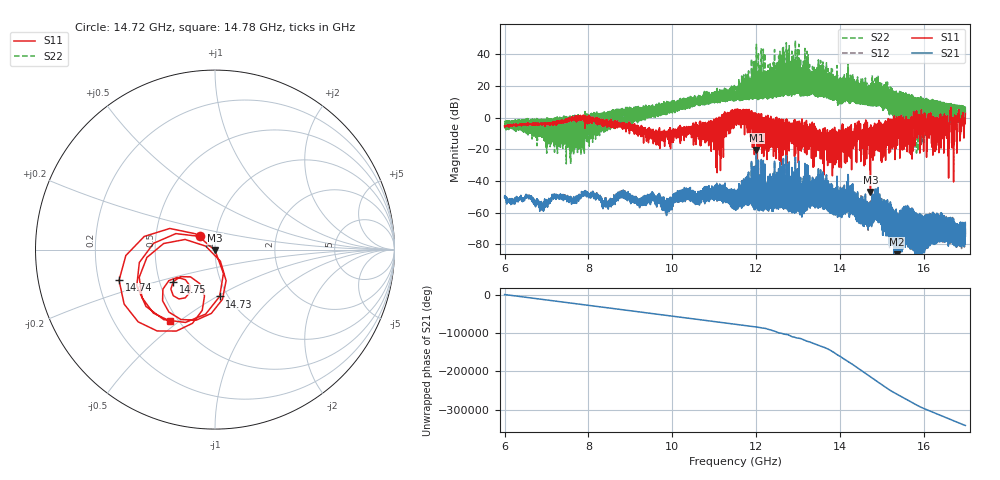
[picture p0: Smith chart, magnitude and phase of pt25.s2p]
#  HZ  S  RI  R  50.00
! Rohde & Schwarz Vector Network Analyzer
! Rohde-Schwarz,ZNA67-2Port,1332450062101215,3.01
! Created: UTC 10/15/2026, 3:06:13 PM
! freq[Hz]  re:S11  im:S11  re:S21  im:S21  re:S12  im:S12  re:S22  im:S22
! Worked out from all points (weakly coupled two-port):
!   11001 points, 6 GHz to 17 GHz, reference 50 ohm
!   highest |S21| = -20.39 dB at 12.01 GHz (marker M1); lowest = -92.8 dB at 15.37 GHz (marker M2)
!   lowest |S11| = -46.9 dB at 14.73 GHz (marker M3), VSWR 1.01, Z = 50 - j0.449 ohm
!   |S11| at or under -10 dB: 13.65208 GHz to 13.70161 GHz (49.52 MHz wide, 0.362 % of centre); 13.7201 GHz to 13.76947 GHz (49.36 MHz wide, 0.359 % of centre); 14.08077 GHz to 14.12743 GHz (46.66 MHz wide, 0.331 % of centre) (the widest 3 of 480)
!   |S22| runs from -29.3 to 48.7 dB; largest |S21 - S12| = 0.0034
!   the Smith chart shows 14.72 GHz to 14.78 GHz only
!   S11 on the Smith chart (normalised r, x): 14.72 GHz: 0.84, +0.12; 14.73 GHz: 0.92, -0.51; 14.74 GHz: 0.29, -0.14; 14.75 GHz: 0.59, -0.23; 14.78 GHz: 0.45, -0.46
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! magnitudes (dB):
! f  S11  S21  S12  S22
! 6 GHz  -5.3  -50.5  -50.5  -4.9
! 6.887 GHz  -4.2  -57.1  -57.1  -8.1
! 7.834 GHz  -0.4  -49.2  -49.2  -19.5
! 9.667 GHz  -10.6  -53.7  -53.8  1.0
! 9.895 GHz  -9.3  -51.9  -52.0  9.5
! 11.05 GHz  -0.4  -45.0  -45.0  14.6
! 11.5 GHz  4.8  -55.9  -55.7  12.0
! 12.01 GHz  -2.5  -20.4  -20.1  46.4
! 13.33 GHz  -6.5  -51.8  -51.8  18.6
! 13.81 GHz  -14.1  -48.2  -48.7  22.0
! 14.25 GHz  -6.3  -61.1  -60.6  9.2
! 14.72 GHz  -19.0  -64.4  -64.0  11.7
! 14.73 GHz  -11.6  -62.9  -63.0  11.7
! 14.73 GHz  -46.9  -64.1  -64.7  12.0
! 14.74 GHz  -5.0  -65.3  -65.0  9.8
! 14.75 GHz  -10.7  -65.7  -65.7  8.8
! 14.78 GHz  -6.6  -54.7  -54.9  18.0
! 15.17 GHz  -9.2  -71.9  -72.5  5.5
! 15.37 GHz  -9.9  -92.8  -93.1  -0.3
! 15.81 GHz  -2.1  -64.8  -64.4  9.5
! 16.57 GHz  0.7  -77.4  -77.4  -3.9
! 17 GHz  2.7  -75.0  -75.0  2.0
